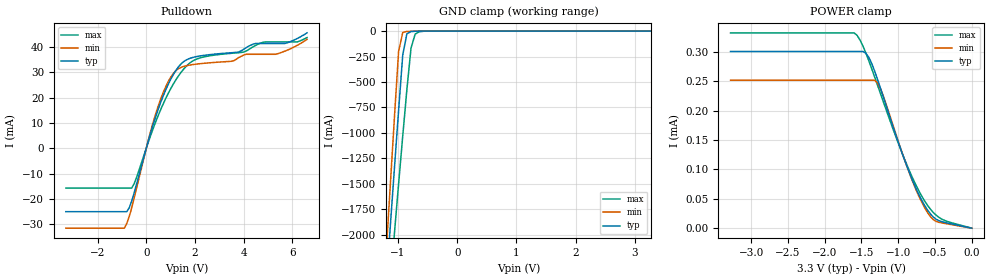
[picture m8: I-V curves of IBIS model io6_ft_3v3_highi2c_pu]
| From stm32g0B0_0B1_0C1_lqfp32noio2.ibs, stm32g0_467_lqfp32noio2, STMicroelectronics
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[Model]  io6_ft_3v3_highi2c_pu
Model_type I/O_open_drain
Polarity   Non-Inverting
Enable   Active-Low
Vinl =   0.990000V
Vinh =   2.310000V
Vmeas =  1.650000V
Cref =   50.000000pF
Rref =   100.000000M
Vref =   0.0V
C_comp   1.290400pF   1.272500pF   1.305600pF
[Temperature Range]   25.000000   -40.000000   0.125000k
[Pullup Reference]   3.300000V   3.000000V   3.600000V
[Pulldown Reference]   0.0V   0.0V   0.0V
[POWER Clamp Reference]   3.300000V   3.000000V   3.600000V
[GND Clamp Reference]   0.0V   0.0V   0.0V
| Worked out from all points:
|   slope of the pulldown table from 0 to 0.495 V, typ, clamps not added: 31.8 ohm
|   GND clamp passes 1 mA (typ) near -0.65 V on its own axis
[Pulldown]
|Voltage   I(typ)   I(min)   I(max)
-3.3V     -25.03mA   -31.54mA   -15.7mA
-900mV    -25.03mA   -31.54mA   -15.7mA
-700mV    -23.48mA   -26.95mA   -15.7mA
-500mV    -17.69mA   -19.75mA   -14.07mA
100mV     3.479mA    3.853mA    2.862mA
500mV     15.71mA    16.96mA    13.17mA
900mV     25.22mA    26.33mA    21.66mA
1.3V      31.91mA    31.32mA    28.29mA
2.2V      36.48mA    33.43mA    35.69mA
4.1V      39.76mA    37.15mA    38.42mA
5.3V      41.43mA    37.15mA    42.02mA
6.6V      45.6mA     43.04mA    43.74mA
[GND_clamp]
|Voltage   I(typ)   I(min)   I(max)
-3.3V     -9.61A     -9.635A    -9.699A
-1.2V     -2.493A    -2.184A    -2.958A
-1.13V    -1.917A    -1.512A    -2.469A
-1.06V    -1.345A    -845.6mA   -1.983A
-990mV    -779.8mA   -200.2mA   -1.503A
-920mV    -235.5mA   -14.18mA   -1.03A
-850mV    -26.06mA   -3.338mA   -574.2mA
-780mV    -4.499mA   -1.808mA   -166.4mA
-710mV    -1.722mA   -869.6uA   -29.45mA
-640mV    -806.7uA   -283.7uA   -6.281mA
3.28V     0A         0A         0A
[POWER_clamp]
|Voltage   I(typ)   I(min)   I(max)
-3.28V    300.8uA    252uA      332.4uA
-1.6V     300.8uA    252uA      332.4uA
-1.56V    300.8uA    252uA      328.4uA
-1.44V    297.9uA    252uA      298.3uA
-1.36V    280.4uA    252uA      271.4uA
-1.28V    252.9uA    246.9uA    243.1uA
-1.2V     222.5uA    224.3uA    214.5uA
-920mV    118.6uA    118.8uA    119.5uA
-680mV    47.6uA     44.33uA    54.63uA
-560mV    24.08uA    19.48uA    32.08uA
-480mV    14.89uA    11.29uA    21.67uA
0V        0A         0A         0A
[Ramp]
| variable   typ   min   max
dV/dt_r  1.07552/0.93429n   0.96306/0.90911n   1.029/1.06800n
dV/dt_f  1.03422/0.72440n   0.95490/0.75402n   1.02804/0.72299n
R_load = 50.000000
